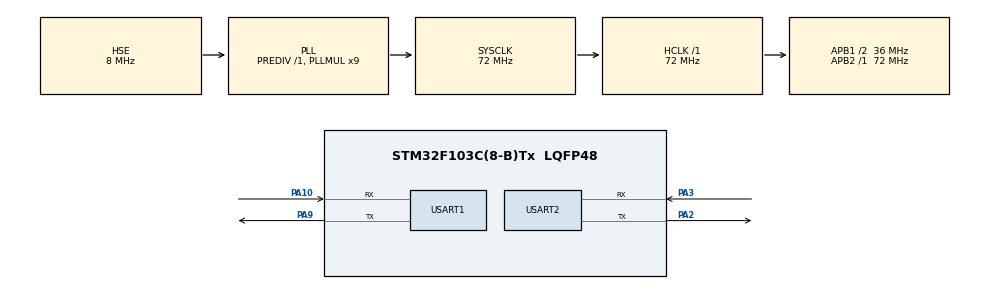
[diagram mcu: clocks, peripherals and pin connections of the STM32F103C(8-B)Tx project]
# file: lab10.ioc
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Mcu.Family=STM32F1
Mcu.Name=STM32F103C(8-B)Tx
Mcu.Package=LQFP48
NVIC.PriorityGroup=NVIC_PRIORITYGROUP_4
PA10.Mode=Asynchronous
PA10.Signal=USART1_RX
PA13.Mode=Serial_Wire
PA13.Signal=SYS_JTMS-SWDIO
PA14.Mode=Serial_Wire
PA14.Signal=SYS_JTCK-SWCLK
PA2.Mode=Asynchronous
PA2.Signal=USART2_TX
PA3.Mode=Asynchronous
PA3.Signal=USART2_RX
PA9.Mode=Asynchronous
PA9.Signal=USART1_TX
PD0-OSC_IN.Mode=HSE-External-Oscillator
PD0-OSC_IN.Signal=RCC_OSC_IN
PD1-OSC_OUT.Mode=HSE-External-Oscillator
PD1-OSC_OUT.Signal=RCC_OSC_OUT
ProjectManager.HeapSize=0x200
ProjectManager.StackSize=0x400
ProjectManager.TargetToolchain=MDK-ARM V5.32
RCC.AHBFreq_Value=72000000
RCC.APB1CLKDivider=RCC_HCLK_DIV2
RCC.APB1Freq_Value=36000000
RCC.APB1TimFreq_Value=72000000
RCC.APB2Freq_Value=72000000
RCC.APB2TimFreq_Value=72000000
RCC.HCLKFreq_Value=72000000
RCC.PLLMUL=RCC_PLL_MUL9
RCC.PLLSourceVirtual=RCC_PLLSOURCE_HSE
RCC.SYSCLKFreq_VALUE=72000000
RCC.SYSCLKSource=RCC_SYSCLKSOURCE_PLLCLK
RCC.USBFreq_Value=72000000
USART1.VirtualMode=VM_ASYNC
USART2.VirtualMode=VM_ASYNC
board=custom

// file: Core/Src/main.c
/* USER CODE BEGIN Header */
/**
  ******************************************************************************
  * @file           : main.c
  * @brief          : Main program body
  ******************************************************************************
  * @attention
  *
  * Copyright (c) 2026 STMicroelectronics.
  * All rights reserved.
  *
  * This software is licensed under terms that can be found in the LICENSE file
  * in the root directory of this software component.
  * If no LICENSE file comes with this software, it is provided AS-IS.
  *
  ******************************************************************************
  */
/* USER CODE END Header */
#include "main.h"
#include <string.h> // Required for strstr()

UART_HandleTypeDef huart1;
UART_HandleTypeDef huart2;

/* USER CODE BEGIN PV */
uint8_t rx_buffer[20]; // Declared globally so it is accessible in main
/* USER CODE END PV */

void SystemClock_Config(void);
static void MX_GPIO_Init(void);
static void MX_USART1_UART_Init(void);
static void MX_USART2_UART_Init(void);

int main(void)
{

  /* MCU Configuration--------------------------------------------------------*/

  /* Reset of all peripherals, Initializes the Flash interface and the Systick. */
  HAL_Init();

  /* Configure the system clock */
  SystemClock_Config();

  /* Initialize all configured peripherals */
  MX_GPIO_Init();
  MX_USART1_UART_Init();
  MX_USART2_UART_Init();

  /* USER CODE BEGIN 2 */
  uint8_t c;

  HAL_Delay(2000);

  // 1. Test AT Command
  HAL_UART_Transmit(&huart2, (uint8_t*)"AT\r\n", 4, 1000);
  while (HAL_UART_Receive(&huart2, &c, 1, 2000) == HAL_OK)
  {
    HAL_UART_Transmit(&huart1, &c, 1, 1000);
  }

  HAL_Delay(1000);

  // 2. Set Station Mode
  HAL_UART_Transmit(&huart2, (uint8_t*)"AT+CWMODE=1\r\n", 13, 1000);
  while (HAL_UART_Receive(&huart2, &c, 1, 2000) == HAL_OK)
  {
    HAL_UART_Transmit(&huart1, &c, 1, 1000);
  }

  HAL_Delay(1000);

  // 3. Connect to Wi-Fi (Vivo V50)
  HAL_UART_Transmit(&huart2, (uint8_t*)"AT+CWJAP=\"Vivo V50\",\"pass1441\"\r\n", 33, 1000);
  while (HAL_UART_Receive(&huart2, &c, 1, 10000) == HAL_OK)
  {
    HAL_UART_Transmit(&huart1, &c, 1, 1000);
  }

  HAL_Delay(1000);

  // 4. Get IP Address
  HAL_UART_Transmit(&huart2, (uint8_t*)"AT+CIFSR\r\n", 10, 1000);
  while (HAL_UART_Receive(&huart2, &c, 1, 3000) == HAL_OK)
  {
    HAL_UART_Transmit(&huart1, &c, 1, 1000);
  }
  /* USER CODE END 2 */

  /* Infinite loop */
  while (1)
  {

  }
}

void SystemClock_Config(void)
{
  RCC_OscInitTypeDef RCC_OscInitStruct = {0};
  RCC_ClkInitTypeDef RCC_ClkInitStruct = {0};

  /** Initializes the RCC Oscillators according to the specified parameters
  * in the RCC_OscInitTypeDef structure.
  */
  RCC_OscInitStruct.OscillatorType = RCC_OSCILLATORTYPE_HSE;
  RCC_OscInitStruct.HSEState = RCC_HSE_ON;
  RCC_OscInitStruct.HSEPredivValue = RCC_HSE_PREDIV_DIV1;
  RCC_OscInitStruct.HSIState = RCC_HSI_ON;
  RCC_OscInitStruct.PLL.PLLState = RCC_PLL_ON;
  RCC_OscInitStruct.PLL.PLLSource = RCC_PLLSOURCE_HSE;
  RCC_OscInitStruct.PLL.PLLMUL = RCC_PLL_MUL9;
  if (HAL_RCC_OscConfig(&RCC_OscInitStruct) != HAL_OK)
  {
    Error_Handler();
  }

  /** Initializes the CPU, AHB and APB buses clocks
  */
  RCC_ClkInitStruct.ClockType = RCC_CLOCKTYPE_HCLK|RCC_CLOCKTYPE_SYSCLK
                              |RCC_CLOCKTYPE_PCLK1|RCC_CLOCKTYPE_PCLK2;
  RCC_ClkInitStruct.SYSCLKSource = RCC_SYSCLKSOURCE_PLLCLK;
  RCC_ClkInitStruct.AHBCLKDivider = RCC_SYSCLK_DIV1;
  RCC_ClkInitStruct.APB1CLKDivider = RCC_HCLK_DIV2;
  RCC_ClkInitStruct.APB2CLKDivider = RCC_HCLK_DIV1;

  if (HAL_RCC_ClockConfig(&RCC_ClkInitStruct, FLASH_LATENCY_2) != HAL_OK)
  {
    Error_Handler();
  }
}

static void MX_USART1_UART_Init(void)
{
  huart1.Instance = USART1;
  huart1.Init.BaudRate = 115200;
  huart1.Init.WordLength = UART_WORDLENGTH_8B;
  huart1.Init.StopBits = UART_STOPBITS_1;
  huart1.Init.Parity = UART_PARITY_NONE;
  huart1.Init.Mode = UART_MODE_TX_RX;
  huart1.Init.HwFlowCtl = UART_HWCONTROL_NONE;
  huart1.Init.OverSampling = UART_OVERSAMPLING_16;
  if (HAL_UART_Init(&huart1) != HAL_OK)
  {
    Error_Handler();
  }
}

static void MX_USART2_UART_Init(void)
{
  huart2.Instance = USART2;
  huart2.Init.BaudRate = 115200;
  huart2.Init.WordLength = UART_WORDLENGTH_8B;
  huart2.Init.StopBits = UART_STOPBITS_1;
  huart2.Init.Parity = UART_PARITY_NONE;
  huart2.Init.Mode = UART_MODE_TX_RX;
  huart2.Init.HwFlowCtl = UART_HWCONTROL_NONE;
  huart2.Init.OverSampling = UART_OVERSAMPLING_16;
  if (HAL_UART_Init(&huart2) != HAL_OK)
  {
    Error_Handler();
  }
}

static void MX_GPIO_Init(void)
{
  __HAL_RCC_GPIOD_CLK_ENABLE();
  __HAL_RCC_GPIOA_CLK_ENABLE();
}

void Error_Handler(void)
{
  __disable_irq();
  while (1)
  {
  }
}
